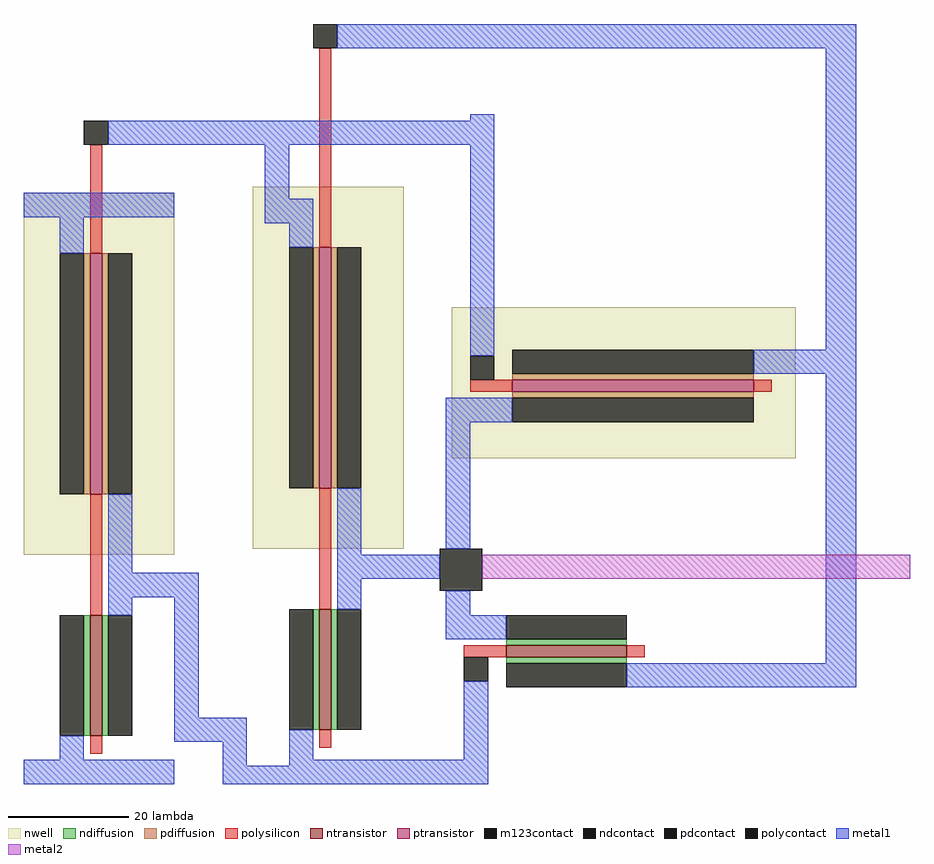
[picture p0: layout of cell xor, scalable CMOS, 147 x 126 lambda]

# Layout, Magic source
magic
tech scmos
<< nwell >>
rect 4 38 29 98
rect 42 39 67 99
rect 75 54 132 79
<< ntransistor >>
rect 15 8 17 28
rect 53 9 55 29
rect 84 21 104 23
<< ptransistor >>
rect 15 48 17 88
rect 53 49 55 89
rect 85 65 125 67
<< ndiffusion >>
rect 14 8 15 28
rect 17 8 18 28
rect 52 9 53 29
rect 55 9 56 29
rect 84 23 104 24
rect 84 20 104 21
<< pdiffusion >>
rect 14 48 15 88
rect 17 48 18 88
rect 52 49 53 89
rect 55 49 56 89
rect 85 67 125 68
rect 85 64 125 65
<< ndcontact >>
rect 10 8 14 28
rect 18 8 22 28
rect 48 9 52 29
rect 56 9 60 29
rect 84 24 104 28
rect 84 16 104 20
<< pdcontact >>
rect 10 48 14 88
rect 18 48 22 88
rect 48 49 52 89
rect 56 49 60 89
rect 85 68 125 72
rect 85 60 125 64
<< polysilicon >>
rect 15 88 17 106
rect 53 89 55 122
rect 78 65 85 67
rect 125 65 128 67
rect 15 28 17 48
rect 53 29 55 49
rect 77 21 84 23
rect 104 21 107 23
rect 15 5 17 8
rect 53 6 55 9
<< polycontact >>
rect 52 122 56 126
rect 14 106 18 110
rect 78 67 82 71
rect 77 17 81 21
<< metal1 >>
rect 56 122 142 126
rect 78 110 82 111
rect 18 106 82 110
rect 4 94 29 98
rect 44 97 48 106
rect 10 88 14 94
rect 44 93 52 97
rect 48 89 52 93
rect 78 71 82 106
rect 137 72 142 122
rect 125 68 142 72
rect 18 35 22 48
rect 56 38 60 49
rect 74 60 85 64
rect 74 39 78 60
rect 18 31 33 35
rect 18 28 22 31
rect 29 11 33 31
rect 56 34 73 38
rect 56 29 60 34
rect 10 4 14 8
rect 29 7 41 11
rect 4 0 29 4
rect 37 3 41 7
rect 74 28 78 32
rect 74 24 84 28
rect 137 20 142 68
rect 48 4 52 9
rect 77 4 81 17
rect 104 16 142 20
rect 48 3 81 4
rect 37 0 81 3
<< metal2 >>
rect 80 34 151 38
<< m123contact >>
rect 73 32 80 39
<< end >>
